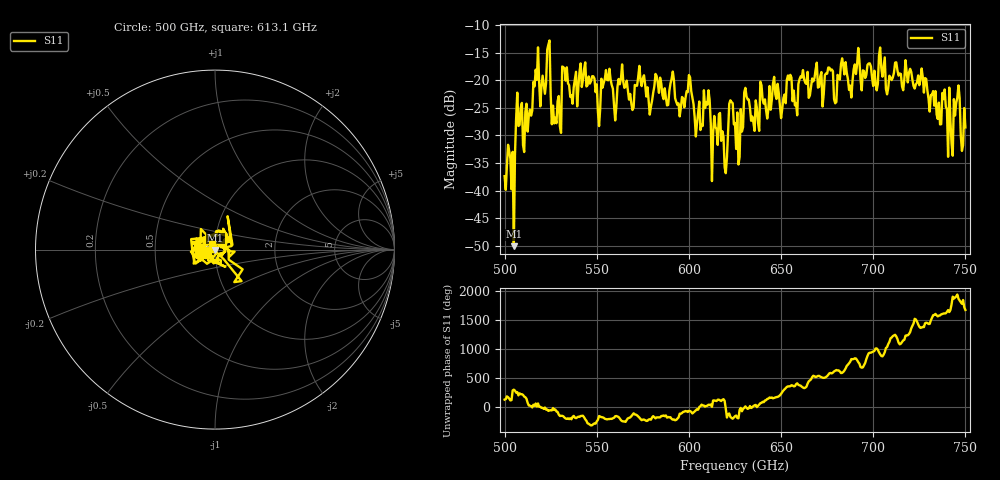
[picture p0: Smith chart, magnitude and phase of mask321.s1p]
!Created with skrf (http://scikit-rf.org).
# GHz S MA R 50.0
!freq magS11 angS11
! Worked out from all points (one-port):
!   401 points, 500 GHz to 750 GHz, reference 50 ohm
!   lowest |S11| = -50.1 dB at 505 GHz (marker M1), VSWR 1.01, Z = 50.2 - j0.252 ohm
!   |S11| at or under -10 dB: start of sweep to end of sweep
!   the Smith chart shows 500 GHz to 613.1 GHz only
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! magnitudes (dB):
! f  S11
! 500 GHz  -37.4
! 505 GHz  -50.1
! 507.5 GHz  -28.3
! 511.2 GHz  -25.7
! 516.9 GHz  -18.1
! 520.6 GHz  -19.2
! 523.8 GHz  -13.5
! 526.9 GHz  -27.8
! 531.2 GHz  -17.5
! 542.5 GHz  -19.9
! 550.6 GHz  -25.7
! 556.2 GHz  -20.0
! 560 GHz  -27.3
! 562.5 GHz  -20.7
! 590.6 GHz  -19.7
! 593.8 GHz  -24.5
! 609.4 GHz  -23.9
! 619.4 GHz  -35.8
! 622.5 GHz  -23.6
! 625 GHz  -27.7
! 656.2 GHz  -23.8
! 676.9 GHz  -18.2
! 680 GHz  -23.9
! 683.8 GHz  -17.4
! 687.5 GHz  -21.0
! 691.2 GHz  -17.1
! 718.8 GHz  -20.4
! 750 GHz  -28.6
